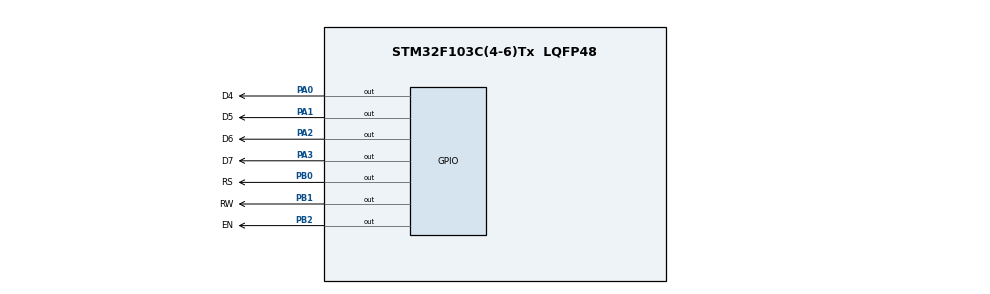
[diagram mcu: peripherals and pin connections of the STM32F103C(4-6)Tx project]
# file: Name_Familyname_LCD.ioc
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Mcu.Family=STM32F1
Mcu.Name=STM32F103C(4-6)Tx
Mcu.Package=LQFP48
NVIC.PriorityGroup=NVIC_PRIORITYGROUP_4
PA0-WKUP.GPIO_Label=D4
PA0-WKUP.Signal=GPIO_Output
PA1.GPIO_Label=D5
PA1.Signal=GPIO_Output
PA13.Mode=Serial_Wire
PA13.Signal=SYS_JTMS-SWDIO
PA14.Mode=Serial_Wire
PA14.Signal=SYS_JTCK-SWCLK
PA2.GPIO_Label=D6
PA2.Signal=GPIO_Output
PA3.GPIO_Label=D7
PA3.Signal=GPIO_Output
PB0.GPIO_Label=RS
PB0.Signal=GPIO_Output
PB1.GPIO_Label=RW
PB1.Signal=GPIO_Output
PB2.GPIO_Label=EN
PB2.Signal=GPIO_Output
ProjectManager.HeapSize=0x200
ProjectManager.StackSize=0x400
ProjectManager.TargetToolchain=STM32CubeIDE
RCC.APB1Freq_Value=8000000
RCC.APB2Freq_Value=8000000
board=custom

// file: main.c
/* USER CODE BEGIN Header */
/**
  ******************************************************************************
  * @file           : main.c
  * @brief          : Main program body
  ******************************************************************************
  * @attention
  *
  * Copyright (c) 2023 STMicroelectronics.
  * All rights reserved.
  *
  * This software is licensed under terms that can be found in the LICENSE file
  * in the root directory of this software component.
  * If no LICENSE file comes with this software, it is provided AS-IS.
  *
  ******************************************************************************
  */
/* USER CODE END Header */
#include "main.h"

/* USER CODE BEGIN Includes */
void lcd_init(void);
void send_command(uint8_t data);
void send_Idata(uint8_t data);
void send_data(uint8_t data);
void lcd_puts(uint8_t *str);
void lcd_clear(void);
void lcd_gotoxy(uint8_t x, uint8_t y);
/* USER CODE END Includes */

void SystemClock_Config(void);
static void MX_GPIO_Init(void);

/* USER CODE BEGIN 0 */
void lcd_init(void)
{
  HAL_Delay(2);
  send_command(0x02);
  send_command(0x28);
  send_command(0x0F);
}

void send_command(uint8_t data)
{
	HAL_Delay(2);
	HAL_GPIO_WritePin(GPIOB,GPIO_PIN_0,GPIO_PIN_RESET);
	HAL_GPIO_WritePin(GPIOB,GPIO_PIN_1,GPIO_PIN_RESET);

	send_Idata(data >>4);
	send_Idata(data);

}

void send_Idata(uint8_t data)
{
	HAL_Delay(10);
	int temp[4];

	for (int i=0; i<4;i++)
	{

		temp[i]=data%2;
		data=data>>1;

	}

	HAL_GPIO_WritePin(GPIOA,GPIO_PIN_0,temp[0]);
	HAL_GPIO_WritePin(GPIOA,GPIO_PIN_1,temp[1]);
	HAL_GPIO_WritePin(GPIOA,GPIO_PIN_2,temp[2]);
	HAL_GPIO_WritePin(GPIOA,GPIO_PIN_3,temp[3]);

	HAL_GPIO_WritePin(GPIOB,GPIO_PIN_2,GPIO_PIN_SET);
	HAL_Delay(2);
	HAL_GPIO_WritePin(GPIOB,GPIO_PIN_2,GPIO_PIN_RESET);

}

void send_data(uint8_t data)
{
	HAL_Delay(2);
	HAL_GPIO_WritePin(GPIOB,GPIO_PIN_0,GPIO_PIN_SET);
	HAL_GPIO_WritePin(GPIOB,GPIO_PIN_1,GPIO_PIN_RESET);

	send_Idata(data >>4);

	send_Idata(data);

}

void lcd_puts(uint8_t *str)
{
  HAL_Delay(2);
  while(*str !=0x00)
  {
	  send_data(*str);
    str++;
  }
}

void lcd_clear(void)
{
  HAL_Delay(1);
  send_command(0x01);

}

void lcd_gotoxy(uint8_t x, uint8_t y)
{
  HAL_Delay(1);

    switch(y){
    case 0:
      send_command( 0x80 + x );
    break;
    case 1:
      send_command( 0xC0 + x );
      break;

  }
}

/* USER CODE END 0 */

int main(void)
{
  /* USER CODE BEGIN 1 */
//int counter=0;
/*char a[8]={0x01,0x01,0x01, 0x0D, 0x0D,0x01,0x01,0x1F};//
char b[8]={0x05, 0x0A,0x04,0x04, 0x04, 0x04, 0x1C, 0x00};//
char c[8]={0x01,0x01,0x01,0x01,0x01,0x01,0x00,0x00};
char d[8]={0x00,0x02,0x02,0x04,0x08,0x10,0x00,0x00};
char e[8]={0x00,0x00,0x06,0x08,0x08,0x3e,0x00,0x00};
char f[8]={0x02,0x02,0x02,0x02,0x02,0x3e,0x00,0x00};
char g[8]={0x00,0x00,0x07,0x28,0x24,0x22,0x1e,0x00};
char h[8]={0x00,0x08,0x1c,0x2a,0x2a,0xfe,0x00,0x00};
char i[8]={0x01,0x01,0x01,0x01,0x01,0x01,0x00,0x00};
char j[8]={0x10,0x08,0x04,0x02,0x04,0x08,0x10,0x00};
char k[8]={0x00,0x02,0x04,0x48,0x44,0x42,0x42,0x3c};*/
char name[56]={
				  0x00,0x00,0x03,0x04,0x04,0x1F,0x00,0x00,
				  0x01,0x01,0x01,0x01,0x1F,0x00,0x00,0x00,
				  0x00,0x00,0x00,0x00,0x13,0x14,0x12,0x1E,
				  0x00,0x04,0x0E,0x15,0x15,0x1E,0x00,0x00,
				  0x02,0x02,0x02,0x02,0x02,0x03,0x00,0x00,
				  0x00,0x08,0x04,0x02,0x01,0x02,0x04,0x08,
				  0x00,0x00,0x03,0x14,0x12,0x11,0x11,0x1F
};
  /* USER CODE END 1 */

  /* MCU Configuration--------------------------------------------------------*/

  /* Reset of all peripherals, Initializes the Flash interface and the Systick. */
  HAL_Init();

  /* Configure the system clock */
  SystemClock_Config();

  /* Initialize all configured peripherals */
  MX_GPIO_Init();
  /* USER CODE BEGIN 2 */
  lcd_init();
  /*send_command(0x40);
  for(int i=0;i<8;i++) send_data(a[i]);
  send_command(0x40+8);
  for(int i=0;i<8;i++) send_data(b[i]);
  send_command(0x40+16);
  for(int i=0;i<8;i++) send_data(c[i]);
  send_command(0x40+24);
  for(int i=0;i<8;i++) send_data(d[i]);
  send_command(0x40+32);
  for(int i=0;i<8;i++) send_data(e[i]);
  send_command(0x40+40);
  for(int i=0;i<8;i++) send_data(f[i]);
  send_command(0x40+48);
  for(int i=0;i<8;i++) send_data(g[i]);*/
  send_command(0x40);
  for(int i=0;i<56;i++) send_data(name[i]);
  lcd_gotoxy(0,0);
  for(int i=0;i<7;i++) send_data(6-i);

  /* USER CODE END 2 */

  /* Infinite loop */
  while (1)
  {

    /* USER CODE BEGIN 3 */

	  //lcd_gotoxy(1,0);
	  //lcd_puts(b);
	 /* lcd_gotoxy(2,0);
	  lcd_puts(c);
	  lcd_gotoxy(3,0);
	  lcd_puts(d);
	  lcd_gotoxy(4,0);
	  lcd_puts(e);
	  lcd_gotoxy(5,0);
	  lcd_puts(f);
	  lcd_gotoxy(6,0);
	  lcd_puts(g);
	  lcd_gotoxy(7,0);
	  lcd_puts(h);
	  lcd_gotoxy(8,0);
	  lcd_puts(i);
	  lcd_gotoxy(9,0);
	  lcd_puts(j);
	  lcd_gotoxy(10,0);
	  lcd_puts(k);*/
	 // if(HAL_GPIO_ReadPin(GPIOB, GPIO_PIN_3)==0){
	 	//	  counter++;
	 		// if(counter>120){
	 		 //		  counter=0;
	 		 	//  }
	 		 //lcd_gotoxy(0,1 );
	 			//  sprintf(str,"counter=%d",counter);
	 			  //lcd_puts(str);
	// 	  }
	  //if(HAL_GPIO_ReadPin(GPIOB, GPIO_PIN_4)==0){
		//	  counter--;
			//  if(counter<0){
				//  counter=120;
			//  }
			//  lcd_gotoxy(0,1 );
			 //	  sprintf(str,"counter=%d",counter);
			 	//  lcd_puts(str);
		  //}

  }
  /* USER CODE END 3 */
}

void SystemClock_Config(void)
{
  RCC_OscInitTypeDef RCC_OscInitStruct = {0};
  RCC_ClkInitTypeDef RCC_ClkInitStruct = {0};

  /** Initializes the RCC Oscillators according to the specified parameters
  * in the RCC_OscInitTypeDef structure.
  */
  RCC_OscInitStruct.OscillatorType = RCC_OSCILLATORTYPE_HSI;
  RCC_OscInitStruct.HSIState = RCC_HSI_ON;
  RCC_OscInitStruct.HSICalibrationValue = RCC_HSICALIBRATION_DEFAULT;
  RCC_OscInitStruct.PLL.PLLState = RCC_PLL_NONE;
  if (HAL_RCC_OscConfig(&RCC_OscInitStruct) != HAL_OK)
  {
    Error_Handler();
  }

  /** Initializes the CPU, AHB and APB buses clocks
  */
  RCC_ClkInitStruct.ClockType = RCC_CLOCKTYPE_HCLK|RCC_CLOCKTYPE_SYSCLK
                              |RCC_CLOCKTYPE_PCLK1|RCC_CLOCKTYPE_PCLK2;
  RCC_ClkInitStruct.SYSCLKSource = RCC_SYSCLKSOURCE_HSI;
  RCC_ClkInitStruct.AHBCLKDivider = RCC_SYSCLK_DIV1;
  RCC_ClkInitStruct.APB1CLKDivider = RCC_HCLK_DIV1;
  RCC_ClkInitStruct.APB2CLKDivider = RCC_HCLK_DIV1;

  if (HAL_RCC_ClockConfig(&RCC_ClkInitStruct, FLASH_LATENCY_0) != HAL_OK)
  {
    Error_Handler();
  }
}

static void MX_GPIO_Init(void)
{
  GPIO_InitTypeDef GPIO_InitStruct = {0};

  /* GPIO Ports Clock Enable */
  __HAL_RCC_GPIOA_CLK_ENABLE();
  __HAL_RCC_GPIOB_CLK_ENABLE();

  /*Configure GPIO pin Output Level */
  HAL_GPIO_WritePin(GPIOA, D4_Pin|D5_Pin|D6_Pin|D7_Pin, GPIO_PIN_RESET);

  /*Configure GPIO pin Output Level */
  HAL_GPIO_WritePin(GPIOB, RS_Pin|RW_Pin|EN_Pin, GPIO_PIN_RESET);

  /*Configure GPIO pins : D4_Pin D5_Pin D6_Pin D7_Pin */
  GPIO_InitStruct.Pin = D4_Pin|D5_Pin|D6_Pin|D7_Pin;
  GPIO_InitStruct.Mode = GPIO_MODE_OUTPUT_PP;
  GPIO_InitStruct.Pull = GPIO_NOPULL;
  GPIO_InitStruct.Speed = GPIO_SPEED_FREQ_LOW;
  HAL_GPIO_Init(GPIOA, &GPIO_InitStruct);

  /*Configure GPIO pins : RS_Pin RW_Pin EN_Pin */
  GPIO_InitStruct.Pin = RS_Pin|RW_Pin|EN_Pin;
  GPIO_InitStruct.Mode = GPIO_MODE_OUTPUT_PP;
  GPIO_InitStruct.Pull = GPIO_NOPULL;
  GPIO_InitStruct.Speed = GPIO_SPEED_FREQ_LOW;
  HAL_GPIO_Init(GPIOB, &GPIO_InitStruct);

}

void Error_Handler(void)
{
  __disable_irq();
  while (1)
  {
  }
}
